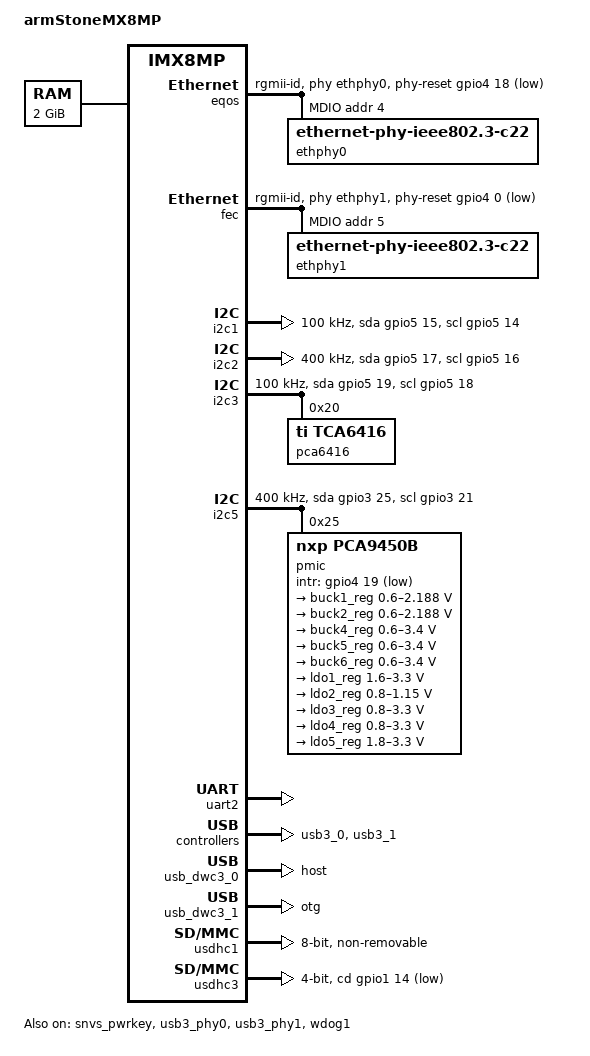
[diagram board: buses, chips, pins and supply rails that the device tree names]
/*
* Copyright 2019-2021 F&S Elektronik Systeme GmbH
*
* This program is free software; you can redistribute it and/or
* modify it under the terms of the GNU General Public License
* as published by the Free Software Foundation; either version 2
* of the License, or (at your option) any later version.
*
* This program is distributed in the hope that it will be useful,
* but WITHOUT ANY WARRANTY; without even the implied warranty of
* MERCHANTABILITY or FITNESS FOR A PARTICULAR PURPOSE.  See the
* GNU General Public License for more details.
*/

/dts-v1/;

/* Set board revision as 3-digit number, e.g. 110 for board rev. 1.10 */
#define CONFIG_ARMSTONEMX8MP_BOARD_REVISION	100

/* USB */
#define CONFIG_ARMSTONEMX8MP_USB_OTG
#define CONFIG_ARMSTONEMX8MP_USB_HOST

#include <dt-bindings/usb/pd.h>
#include "imx8mp-sec-def.h"
#include "imx8mp.dtsi"

/ {
	model = "armStoneMX8MP";
	compatible = "fus,armstonemx8mp", "fsl,imx8mp";

	aliases {
		emmc = &usdhc1;
		ethernet0 = &eqos;
		ethernet1 = &fec;
	};

	chosen {
		bootargs = "console=ttymxc1,115200";
		stdout-path = &uart2;
	};

	memory@40000000 {
		device_type = "memory";
		reg = <0x0 0x40000000 0 0x80000000>;
	};

#if 0 //###
	reg_usb1_host_vbus: regulator-usb1-vbus {
		compatible = "regulator-fixed";
		regulator-name = "usb1_host_vbus";
		pinctrl-names = "default";
		pinctrl-0 = <&pinctrl_usb1_pwr>;
		regulator-min-microvolt = <3300000>;
		regulator-max-microvolt = <3300000>;
		gpio = <&gpio1 12 GPIO_ACTIVE_HIGH>;
		enable-active-high;
		regulator-always-on;
	};
#endif
};

&eqos {
	/delete-property/ assigned-clocks;
	/delete-property/ assigned-clock-parents;
	/delete-property/ assigned-clock-rates;
	compatible = "fsl,imx-eqos";
	pinctrl-names = "default";
	pinctrl-0 = <&pinctrl_eqos>;
	phy-mode = "rgmii-id";
	phy-handle = <&ethphy0>;
	phy-reset-gpios = <&gpio4 18 GPIO_ACTIVE_LOW>;
	phy-reset-duration = <10>;
	phy-reset-post-delay = <50>;
	status = "okay";

	mdio {
		compatible = "snps,dwmac-mdio";
		#address-cells = <1>;
		#size-cells = <0>;

		ethphy0: ethernet-phy@4 {
			compatible = "ethernet-phy-ieee802.3-c22";
			reg = <4>;
			eee-broken-1000t;
		};
	};
};

&fec {
	pinctrl-names = "default";
	pinctrl-0 = <&pinctrl_fec>;
	phy-mode = "rgmii-id";
	phy-handle = <&ethphy1>;
	fsl,magic-packet;
	phy-reset-gpios = <&gpio4 0 GPIO_ACTIVE_LOW>;
	phy-reset-duration = <10>;
	phy-reset-post-delay = <50>;
	status = "okay";

	mdio {
		#address-cells = <1>;
		#size-cells = <0>;

		ethphy1: ethernet-phy@5 {
			compatible = "ethernet-phy-ieee802.3-c22";
			reg = <5>;
			eee-broken-1000t;
		};
	};
};

&i2c1 {
	clock-frequency = <100000>;
	pinctrl-names = "default", "gpio";
	pinctrl-0 = <&pinctrl_i2c1>;
	pinctrl-1 = <&pinctrl_i2c1_gpio>;
	scl-gpios = <&gpio5 14 GPIO_ACTIVE_HIGH>;
	sda-gpios = <&gpio5 15 GPIO_ACTIVE_HIGH>;
	status = "okay";
};

&i2c2 {
	clock-frequency = <400000>;
	pinctrl-names = "default", "gpio";
	pinctrl-0 = <&pinctrl_i2c2>;
	pinctrl-1 = <&pinctrl_i2c2_gpio>;
	scl-gpios = <&gpio5 16 GPIO_ACTIVE_HIGH>;
	sda-gpios = <&gpio5 17 GPIO_ACTIVE_HIGH>;
	status = "okay";
};

&i2c3 {
	clock-frequency = <100000>;
	pinctrl-names = "default", "gpio";
	pinctrl-0 = <&pinctrl_i2c3>;
	pinctrl-1 = <&pinctrl_i2c3_gpio>;
	scl-gpios = <&gpio5 18 GPIO_ACTIVE_HIGH>;
	sda-gpios = <&gpio5 19 GPIO_ACTIVE_HIGH>;
	status = "okay";

	pca6416: gpio@20 {
		compatible = "ti,tca6416";
		reg = <0x20>;
		gpio-controller;
		#gpio-cells = <2>;
	};
};

&i2c5 {
	clock-frequency = <400000>;
	pinctrl-names = "default", "gpio";
	pinctrl-0 = <&pinctrl_i2c5>;
	pinctrl-1 = <&pinctrl_i2c5_gpio>;

	scl-gpios = <&gpio3 21 GPIO_ACTIVE_HIGH>;
	sda-gpios = <&gpio3 25 GPIO_ACTIVE_HIGH>;
	status = "okay";

	pmic: pca9450@25 {
		reg = <0x25>;
		compatible = "nxp,pca9450b";
		/* PMIC PCA9450 PMIC_nINT GPIO4_IO19 */
		pinctrl-0 = <&pinctrl_pmic>;
		gpio_intr = <&gpio4 19 GPIO_ACTIVE_LOW>;

		regulators {
			#address-cells = <1>;
			#size-cells = <0>;

			pca9450,pmic-buck2-uses-i2c-dvs;
			/* Run/Standby voltage */
			pca9450,pmic-buck2-dvs-voltage = <950000>, <850000>;

			buck1_reg: regulator@0 {
				reg = <0>;
				regulator-compatible = "buck1";
				regulator-min-microvolt = <600000>;
				regulator-max-microvolt = <2187500>;
				regulator-boot-on;
				regulator-always-on;
				regulator-ramp-delay = <3125>;
			};

			buck2_reg: regulator@1 {
				reg = <1>;
				regulator-compatible = "buck2";
				regulator-min-microvolt = <600000>;
				regulator-max-microvolt = <2187500>;
				regulator-boot-on;
				regulator-always-on;
				regulator-ramp-delay = <3125>;
			};

			buck4_reg: regulator@3 {
				reg = <3>;
				regulator-compatible = "buck4";
				regulator-min-microvolt = <600000>;
				regulator-max-microvolt = <3400000>;
				regulator-boot-on;
				regulator-always-on;
			};

			buck5_reg: regulator@4 {
				reg = <4>;
				regulator-compatible = "buck5";
				regulator-min-microvolt = <600000>;
				regulator-max-microvolt = <3400000>;
				regulator-boot-on;
				regulator-always-on;
			};

			buck6_reg: regulator@5 {
				reg = <5>;
				regulator-compatible = "buck6";
				regulator-min-microvolt = <600000>;
				regulator-max-microvolt = <3400000>;
				regulator-boot-on;
				regulator-always-on;
			};

			ldo1_reg: regulator@6 {
				reg = <6>;
				regulator-compatible = "ldo1";
				regulator-min-microvolt = <1600000>;
				regulator-max-microvolt = <3300000>;
				regulator-boot-on;
				regulator-always-on;
			};

			ldo2_reg: regulator@7 {
				reg = <7>;
				regulator-compatible = "ldo2";
				regulator-min-microvolt = <800000>;
				regulator-max-microvolt = <1150000>;
				regulator-boot-on;
				regulator-always-on;
			};

			ldo3_reg: regulator@8 {
				reg = <8>;
				regulator-compatible = "ldo3";
				regulator-min-microvolt = <800000>;
				regulator-max-microvolt = <3300000>;
				regulator-boot-on;
				regulator-always-on;
			};

			ldo4_reg: regulator@9 {
				reg = <9>;
				regulator-compatible = "ldo4";
				regulator-min-microvolt = <800000>;
				regulator-max-microvolt = <3300000>;
				regulator-boot-on;
				regulator-always-on;
			};

			ldo5_reg: regulator@10 {
				reg = <10>;
				regulator-compatible = "ldo5";
				regulator-min-microvolt = <1800000>;
				regulator-max-microvolt = <3300000>;
			};
		};
	};
};

&lcdif1 {
	/delete-property/ assigned-clocks;
	/delete-property/ assigned-clock-parents;
	/delete-property/ assigned-clock-rates;

	status = "disabled";
};

&mipi_dsi {
	/delete-property/ assigned-clocks;
	/delete-property/ assigned-clock-parents;
	/delete-property/ assigned-clock-rates;
	status = "disabled";
};

&snvs_pwrkey {
	status = "okay";
};

&uart2 {
	/* console */
	pinctrl-names = "default";
	pinctrl-0 = <&pinctrl_uart2>;
	status = "okay";
};

#ifdef CONFIG_ARMSTONEMX8MP_USB_HOST
&usb3_phy0 {
	status = "okay";
};

&usb3_0 {
	status = "okay";
};

&usb_dwc3_0 {
	compatible = "fsl,imx8mq-dwc3", "snps,dwc3";
	assigned-clocks = <&clk IMX8MP_CLK_HSIO_AXI>;
	assigned-clock-parents = <&clk IMX8MP_SYS_PLL1_800M>;
	assigned-clock-rates = <400000000>;
	pinctrl-names = "default";
	pinctrl-0 = <&pinctrl_usb3_0_pwr>;
	dr_mode = "host";
	status = "okay";
};
#endif

#ifdef CONFIG_ARMSTONEMX8MP_USB_OTG
&usb3_phy1 {
	status = "okay";
};

&usb3_1 {
	status = "okay";
};

&usb_dwc3_1 {
	compatible = "fsl,imx8mq-dwc3", "snps,dwc3";
	assigned-clocks = <&clk IMX8MP_CLK_HSIO_AXI>;
	assigned-clock-parents = <&clk IMX8MP_SYS_PLL1_800M>;
	assigned-clock-rates = <400000000>;
	dr_mode = "otg";
	hnp-disable;
	srp-disable;
	adp-disable;
	status = "okay";
};
#endif

/* SD_C - internal eMCC  */
&usdhc1 {
	pinctrl-names = "default", "state_100mhz", "state_200mhz";
	pinctrl-0 = <&pinctrl_usdhc1>;
	pinctrl-1 = <&pinctrl_usdhc1_100mhz>;
	pinctrl-2 = <&pinctrl_usdhc1_200mhz>;
	non-removable;
	bus-width = <8>;
	status = "okay";
};

/* SD_A - internal Micro-SD */
&usdhc3 {
	pinctrl-names = "default", "state_100mhz", "state_200mhz";
	pinctrl-0 = <&pinctrl_usdhc3>, <&pinctrl_usdhc3_gpio>;
	pinctrl-1 = <&pinctrl_usdhc3_100mhz>, <&pinctrl_usdhc3_gpio>;
	pinctrl-2 = <&pinctrl_usdhc3_200mhz>, <&pinctrl_usdhc3_gpio>;
	cd-gpios = <&gpio1 14 GPIO_ACTIVE_LOW>;
	bus-width = <4>;
	status = "okay";
};

&wdog1 {
	pinctrl-names = "default";
	pinctrl-0 = <&pinctrl_wdog>;
	fsl,ext-reset-output;
	status = "okay";
};

&iomuxc {
	pinctrl-names = "default";

	pinctrl_eqos: eqosgrp {
		fsl,pins = <
			MX8MP_IOMUXC_ENET_MDC__ENET_QOS_MDC	0x3
			MX8MP_IOMUXC_ENET_MDIO__ENET_QOS_MDIO	0x3
			MX8MP_IOMUXC_ENET_RD0__ENET_QOS_RGMII_RD0	0x91
			MX8MP_IOMUXC_ENET_RD1__ENET_QOS_RGMII_RD1	0x11
			MX8MP_IOMUXC_ENET_RD2__ENET_QOS_RGMII_RD2	0x11
			MX8MP_IOMUXC_ENET_RD3__ENET_QOS_RGMII_RD3	0x91
			MX8MP_IOMUXC_ENET_RXC__CCM_ENET_QOS_CLOCK_GENERATE_RX_CLK	0x11
			MX8MP_IOMUXC_ENET_RX_CTL__ENET_QOS_RGMII_RX_CTL	0x11
			MX8MP_IOMUXC_ENET_TD0__ENET_QOS_RGMII_TD0		0x1f
			MX8MP_IOMUXC_ENET_TD1__ENET_QOS_RGMII_TD1		0x1f
			MX8MP_IOMUXC_ENET_TD2__ENET_QOS_RGMII_TD2		0x1f
			MX8MP_IOMUXC_ENET_TD3__ENET_QOS_RGMII_TD3		0x1f
			MX8MP_IOMUXC_ENET_TX_CTL__ENET_QOS_RGMII_TX_CTL	0x1f
			MX8MP_IOMUXC_ENET_TXC__CCM_ENET_QOS_CLOCK_GENERATE_TX_CLK	0x1f
			/* ETH_A_PHY_INTn */
			MX8MP_IOMUXC_SAI1_RXD0__GPIO4_IO02		0x39
			/* ETH_A_PHY_RSTn */
			MX8MP_IOMUXC_SAI1_TXD6__GPIO4_IO18		0x159
		>;
	};

	pinctrl_fec: fecgrp {
		fsl,pins = <
			MX8MP_IOMUXC_SAI1_RXD2__ENET1_MDC		0x3
			MX8MP_IOMUXC_SAI1_RXD3__ENET1_MDIO		0x3
			MX8MP_IOMUXC_SAI1_RXD4__ENET1_RGMII_RD0		0x91
			MX8MP_IOMUXC_SAI1_RXD5__ENET1_RGMII_RD1		0x11
			MX8MP_IOMUXC_SAI1_RXD6__ENET1_RGMII_RD2		0x11
			MX8MP_IOMUXC_SAI1_RXD7__ENET1_RGMII_RD3		0x91
			MX8MP_IOMUXC_SAI1_TXC__ENET1_RGMII_RXC		0x11
			MX8MP_IOMUXC_SAI1_TXFS__ENET1_RGMII_RX_CTL	0x11
			MX8MP_IOMUXC_SAI1_TXD0__ENET1_RGMII_TD0		0x1f
			MX8MP_IOMUXC_SAI1_TXD1__ENET1_RGMII_TD1		0x1f
			MX8MP_IOMUXC_SAI1_TXD2__ENET1_RGMII_TD2		0x1f
			MX8MP_IOMUXC_SAI1_TXD3__ENET1_RGMII_TD3		0x1f
			MX8MP_IOMUXC_SAI1_TXD4__ENET1_RGMII_TX_CTL	0x1f
			MX8MP_IOMUXC_SAI1_TXD5__ENET1_RGMII_TXC		0x1f
			/* ETH_B_PHY_INTn - RTL8222 - OD needed*/
			MX8MP_IOMUXC_SAI1_RXC__GPIO4_IO01		0x39
			/* ETH_B_PHY_RSTn - PU on*/
			MX8MP_IOMUXC_SAI1_RXFS__GPIO4_IO00		0x159
		>;
	};

	pinctrl_i2c1: i2c1grp {
		fsl,pins = <
			MX8MP_IOMUXC_I2C1_SCL__I2C1_SCL		0x400001c3
			MX8MP_IOMUXC_I2C1_SDA__I2C1_SDA		0x400001c3
		>;
	};

	pinctrl_i2c2: i2c2grp {
		fsl,pins = <
			MX8MP_IOMUXC_I2C2_SCL__I2C2_SCL			0x400001c3
			MX8MP_IOMUXC_I2C2_SDA__I2C2_SDA			0x400001c3
		>;
	};

	pinctrl_i2c3: i2c3grp {
		fsl,pins = <
			MX8MP_IOMUXC_I2C3_SCL__I2C3_SCL			0x400001c3
			MX8MP_IOMUXC_I2C3_SDA__I2C3_SDA			0x400001c3
		>;
	};

	pinctrl_i2c5: i2c5grp {
		fsl,pins = <
			MX8MP_IOMUXC_SAI5_RXD0__I2C5_SCL		0x400001c3
			MX8MP_IOMUXC_SAI5_MCLK__I2C5_SDA		0x400001c3
		>;
	};

	pinctrl_i2c1_gpio: i2c1grp-gpio {
		fsl,pins = <
			MX8MP_IOMUXC_I2C1_SCL__GPIO5_IO14        	0x1c3
			MX8MP_IOMUXC_I2C1_SDA__GPIO5_IO15        	0x1c3
		>;
	};

	pinctrl_i2c2_gpio: i2c2grp-gpio {
		fsl,pins = <
			MX8MP_IOMUXC_I2C2_SCL__GPIO5_IO16        	0x1c3
			MX8MP_IOMUXC_I2C2_SDA__GPIO5_IO17        	0x1c3
		>;
	};

	pinctrl_i2c3_gpio: i2c3grp-gpio {
		fsl,pins = <
			MX8MP_IOMUXC_I2C3_SCL__GPIO5_IO18        	0x1c3
			MX8MP_IOMUXC_I2C3_SDA__GPIO5_IO19        	0x1c3
		>;
	};

	pinctrl_i2c5_gpio: i2c5grp-gpio {
		fsl,pins = <
			MX8MP_IOMUXC_SAI5_RXD0__GPIO3_IO21        	0x1c3
			MX8MP_IOMUXC_SAI5_MCLK__GPIO3_IO25        	0x1c3
		>;
	};

	pinctrl_pmic: pmicirq {
		fsl,pins = <
			MX8MP_IOMUXC_SAI1_TXD7__GPIO4_IO19	0x41
		>;
	};

	pinctrl_uart2: uart2grp {
		fsl,pins = <
			MX8MP_IOMUXC_SAI3_TXFS__UART2_DCE_RX	0x49
			MX8MP_IOMUXC_SAI3_TXC__UART2_DCE_TX	0x49
		>;
	};

	pinctrl_usb3_0_pwr: usb0grp {
		fsl,pins = <
//###			MX8MP_IOMUXC_GPIO1_IO12__GPIO1_IO12	0x19
			MX8MP_IOMUXC_GPIO1_IO12__USB1_OTG_PWR	0x19
		>;
	};

	pinctrl_usdhc1: usdhc1grp {
		fsl,pins = <
			MX8MP_IOMUXC_SD1_CLK__USDHC1_CLK	0x190
			MX8MP_IOMUXC_SD1_CMD__USDHC1_CMD	0x1d0
			MX8MP_IOMUXC_SD1_DATA0__USDHC1_DATA0	0x1d0
			MX8MP_IOMUXC_SD1_DATA1__USDHC1_DATA1	0x1d0
			MX8MP_IOMUXC_SD1_DATA2__USDHC1_DATA2	0x1d0
			MX8MP_IOMUXC_SD1_DATA3__USDHC1_DATA3	0x1d0
			MX8MP_IOMUXC_SD1_DATA4__USDHC1_DATA4	0x1d0
			MX8MP_IOMUXC_SD1_DATA5__USDHC1_DATA5	0x1d0
			MX8MP_IOMUXC_SD1_DATA6__USDHC1_DATA6	0x1d0
			MX8MP_IOMUXC_SD1_DATA7__USDHC1_DATA7	0x1d0
			MX8MP_IOMUXC_SD1_STROBE__USDHC1_STROBE  0x190
		>;
	};

	pinctrl_usdhc1_100mhz: usdhc1grp-100mhz {
		fsl,pins = <
			MX8MP_IOMUXC_SD1_CLK__USDHC1_CLK	0x194
			MX8MP_IOMUXC_SD1_CMD__USDHC1_CMD	0x1d4
			MX8MP_IOMUXC_SD1_DATA0__USDHC1_DATA0	0x1d4
			MX8MP_IOMUXC_SD1_DATA1__USDHC1_DATA1	0x1d4
			MX8MP_IOMUXC_SD1_DATA2__USDHC1_DATA2	0x1d4
			MX8MP_IOMUXC_SD1_DATA3__USDHC1_DATA3	0x1d4
			MX8MP_IOMUXC_SD1_DATA4__USDHC1_DATA4	0x1d4
			MX8MP_IOMUXC_SD1_DATA5__USDHC1_DATA5	0x1d4
			MX8MP_IOMUXC_SD1_DATA6__USDHC1_DATA6	0x1d4
			MX8MP_IOMUXC_SD1_DATA7__USDHC1_DATA7	0x1d4
			MX8MP_IOMUXC_SD1_STROBE__USDHC1_STROBE  0x194
		>;
	};

	pinctrl_usdhc1_200mhz: usdhc2grp-200mhz {
		fsl,pins = <
			MX8MP_IOMUXC_SD1_CLK__USDHC1_CLK	0x196
			MX8MP_IOMUXC_SD1_CMD__USDHC1_CMD	0x1d6
			MX8MP_IOMUXC_SD1_DATA0__USDHC1_DATA0	0x1d6
			MX8MP_IOMUXC_SD1_DATA1__USDHC1_DATA1	0x1d6
			MX8MP_IOMUXC_SD1_DATA2__USDHC1_DATA2	0x1d6
			MX8MP_IOMUXC_SD1_DATA3__USDHC1_DATA3	0x1d6
			MX8MP_IOMUXC_SD1_DATA4__USDHC1_DATA4	0x1d6
			MX8MP_IOMUXC_SD1_DATA5__USDHC1_DATA5	0x1d6
			MX8MP_IOMUXC_SD1_DATA6__USDHC1_DATA6	0x1d6
			MX8MP_IOMUXC_SD1_DATA7__USDHC1_DATA7	0x1d6
			MX8MP_IOMUXC_SD1_STROBE__USDHC1_STROBE  0x196
		>;
	};

	pinctrl_usdhc3: usdhc3grp {
		fsl,pins = <
			MX8MP_IOMUXC_NAND_WE_B__USDHC3_CLK	0x190
			MX8MP_IOMUXC_NAND_WP_B__USDHC3_CMD	0x1d0
			MX8MP_IOMUXC_NAND_DATA04__USDHC3_DATA0	0x1d0
			MX8MP_IOMUXC_NAND_DATA05__USDHC3_DATA1	0x1d0
			MX8MP_IOMUXC_NAND_DATA06__USDHC3_DATA2	0x1d0
			MX8MP_IOMUXC_NAND_DATA07__USDHC3_DATA3	0x1d0
			MX8MP_IOMUXC_GPIO1_IO11__USDHC3_VSELECT 0x0c1
		>;
	};

	pinctrl_usdhc3_100mhz: usdhc3grp-100mhz {
		fsl,pins = <
			MX8MP_IOMUXC_NAND_WE_B__USDHC3_CLK	0x194
			MX8MP_IOMUXC_NAND_WP_B__USDHC3_CMD	0x1d4
			MX8MP_IOMUXC_NAND_DATA04__USDHC3_DATA0	0x1d4
			MX8MP_IOMUXC_NAND_DATA05__USDHC3_DATA1	0x1d4
			MX8MP_IOMUXC_NAND_DATA06__USDHC3_DATA2	0x1d4
			MX8MP_IOMUXC_NAND_DATA07__USDHC3_DATA3	0x1d4
			MX8MP_IOMUXC_GPIO1_IO11__USDHC3_VSELECT 0x0c1
		>;
	};

	pinctrl_usdhc3_200mhz: usdhc3grp-200mhz {
		fsl,pins = <
			MX8MP_IOMUXC_NAND_WE_B__USDHC3_CLK	0x196
			MX8MP_IOMUXC_NAND_WP_B__USDHC3_CMD	0x1d6
			MX8MP_IOMUXC_NAND_DATA04__USDHC3_DATA0	0x1d6
			MX8MP_IOMUXC_NAND_DATA05__USDHC3_DATA1	0x1d6
			MX8MP_IOMUXC_NAND_DATA06__USDHC3_DATA2	0x1d6
			MX8MP_IOMUXC_NAND_DATA07__USDHC3_DATA3	0x1d6
			MX8MP_IOMUXC_GPIO1_IO11__USDHC3_VSELECT 0x0c1
		>;
	};

	pinctrl_usdhc3_gpio: usdhc3grp-gpio {
		fsl,pins = <
			/* CD */
			MX8MP_IOMUXC_GPIO1_IO14__GPIO1_IO14	0x1c4
		>;
	};

	pinctrl_wdog: wdoggrp {
		fsl,pins = <
			MX8MP_IOMUXC_GPIO1_IO02__WDOG1_WDOG_B	0xc6
		>;
	};
};
